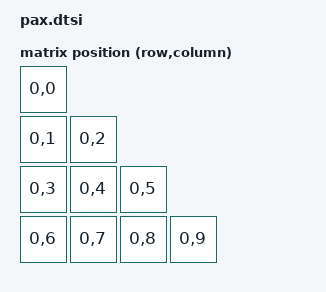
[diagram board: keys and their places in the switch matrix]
#include "pax-layouts.dtsi"
#include <dt-bindings/zmk/matrix_transform.h>

/ {
    matrix_transform0: matrix_transform0 {
        compatible = "zmk,matrix-transform";
        columns = <10>;
        rows = <1>;
        map = <
            RC(0,0)
            RC(0,1) RC(0,2)
            RC(0,3) RC(0,4) RC(0,5)
            RC(0,6) RC(0,7) RC(0,8) RC(0,9)
        >;
    };
};

&physical_layout_pax {
    transform = <&matrix_transform0>;
};

